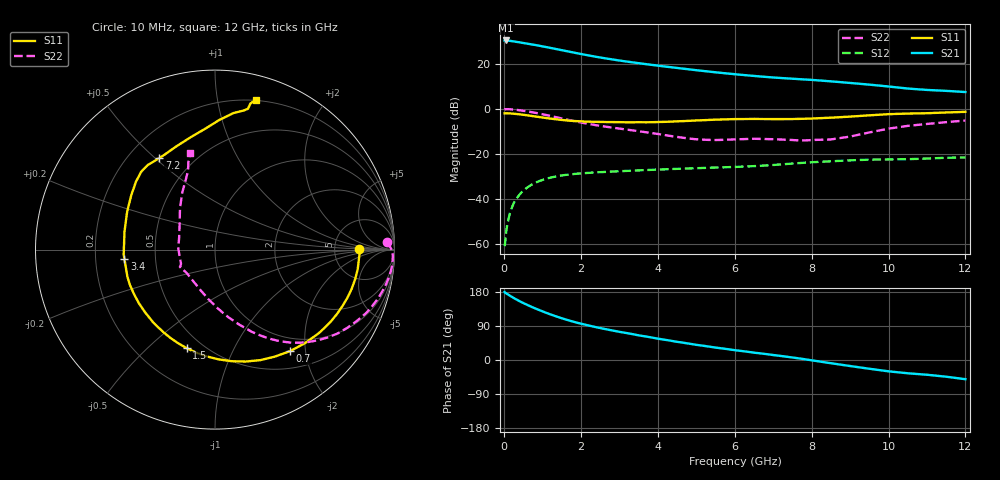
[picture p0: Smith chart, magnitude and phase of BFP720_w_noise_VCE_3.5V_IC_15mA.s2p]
! Infineon Technologies  Discrete & RF Semiconductors
! BFP720
! VCE =  3.5 V,  IC =  15 mA
! Common Emitter S-Parameters:  Aug 2012
# GHz  S  MA  R  50
!  f  S11  S21  S12  S22
! GHz  MAG  ANG  MAG  ANG  MAG  ANG  MAG  ANG
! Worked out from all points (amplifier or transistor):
!   105 points, 10 MHz to 12 GHz, reference 50 ohm
!   highest |S21| = 30.4 dB at 50 MHz (marker M1)
!   |S21| within 3 dB of that: start of sweep to 1.11 GHz
!   unconditionally stable (mu >= 1): start of sweep to 12.56 MHz; 4.831 GHz to 11.02 GHz
!   at 300 MHz: K = 0.13, MSG = 35.1 dB, |S12| = -40.3 dB
!   at 3.6 GHz: K = 0.82, MSG = 23.6 dB, |S12| = -27.2 dB
!   at 12 GHz: K = 0.77, MSG = 14.5 dB, |S12| = -21.5 dB
!   lowest NFmin = 0.63 dB at 450 MHz
!   S11 on the Smith chart (normalised r, x): 10 MHz: 9.16, +0.29; 700 MHz: 0.77, -1.72; 1.5 GHz: 0.41, -0.67; 3.4 GHz: 0.33, -0.05; 7.2 GHz: 0.33, +0.52; 12 GHz: 0.19, +1.29
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0.01  0.8034 0.4  33.15 179.4  0.0009 -7.5  0.961 2.5
0.02  0.8061 -1.5  33.14 177.6  0.001 76.4  0.9881 -0.4
0.05  0.8035 -3.9  33.26 175.9  0.0018 90.6  0.9916 -2.0
0.15  0.7979 -12.0  32.61 169.6  0.0049 82.1  0.9866 -7.2
0.25  0.7852 -19.9  31.71 163.4  0.0082 78.4  0.9704 -11.9
0.35  0.7691 -27.6  30.66 157.9  0.0111 75.2  0.9495 -16.5
0.5  0.7424 -38.9  29.19 150.2  0.0154 69.5  0.9124 -22.9
0.7  0.7035 -53.5  27.31 140.8  0.0206 63.0  0.8556 -30.7
0.9  0.6653 -67.8  25.48 132.2  0.0249 56.9  0.7955 -38.0
1.1  0.629 -81.4  23.63 124.2  0.0284 51.3  0.7326 -44.6
1.5  0.5713 -106.1  20.21 110.1  0.0334 42.6  0.6158 -55.5
1.8  0.5431 -121.7  17.96 101.0  0.0359 37.8  0.5418 -62.1
2.1  0.5263 -134.3  16.02 93.4  0.0377 34.2  0.483 -67.5
2.6  0.5147 -151.4  13.47 82.1  0.04 29.8  0.4098 -75.3
3.4  0.5074 -174.1  10.68 67.1  0.043 25.5  0.3299 -86.9
4.1  0.5162 166.2  8.958 54.7  0.0455 22.8  0.2701 -99.6
5  0.5568 146.8  7.269 40.0  0.0485 20.0  0.2128 -125.3
6.1  0.598 132.6  5.816 24.7  0.0521 18.1  0.2129 -150.4
7.2  0.5973 121.3  4.88 10.6  0.0588 17.2  0.21 -155.7
8.5  0.6415 102.0  4.113 -8.5  0.0691 10.5  0.2108 161.4
10.5  0.7917 78.3  2.848 -35.0  0.0769 -2.4  0.4221 112.7
12  0.865 74.8  2.379 -50.7  0.0838 -11.2  0.5555 104.4
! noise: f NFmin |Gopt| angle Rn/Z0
0.45  0.63  0.22  1  0.43
1.8  0.7  0.22  14  0.13
2.4  0.75  0.2  22  0.38
5.5  0.93  0.1  -30  0.18
10  1.11  0.44  -74  0.27
